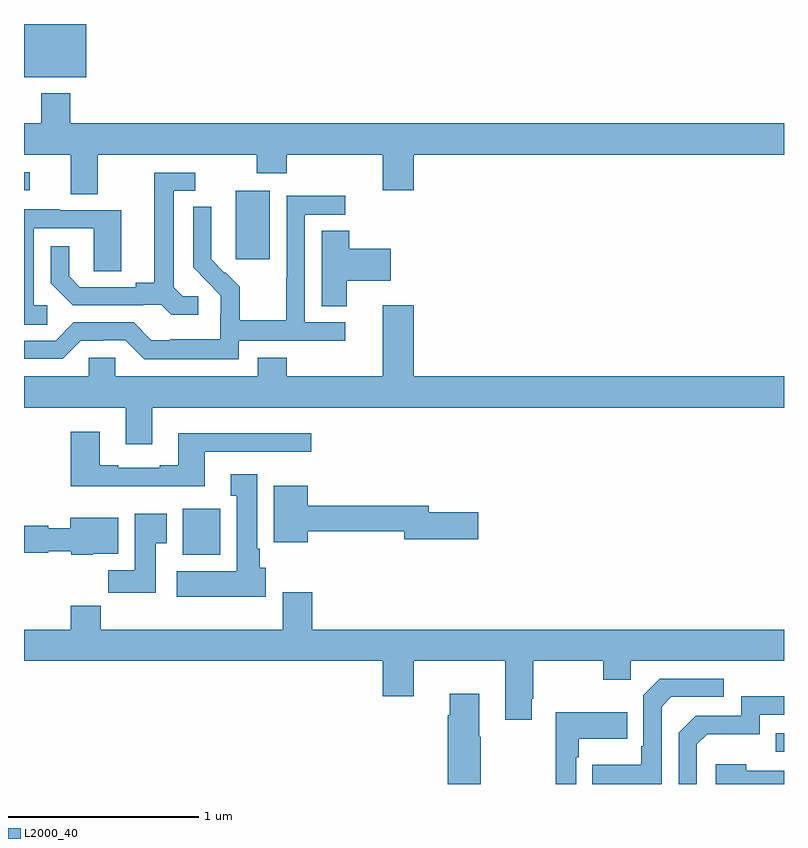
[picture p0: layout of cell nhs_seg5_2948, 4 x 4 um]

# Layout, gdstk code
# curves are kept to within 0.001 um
import gdstk
lib = gdstk.Library(unit=1e-6, precision=1e-09)
def R(c, l, rs):  # rectangles x0, y0, x1, y1
    for r in rs: c.add(gdstk.rectangle(r[:2], r[2:], *l))
def P(c, l, *ps):  # polygons
    for p in ps: c.add(gdstk.Polygon(p, *l))
L2000_40 = (2000, 40)

nhs_seg5_2948 = lib.new_cell('nhs_seg5_2948')
R(nhs_seg5_2948, L2000_40, [(286.957,834.969,287,835.065), (283.835,836.006,284.032,836.248), (284.114,837.561,284.293,837.922), (283,837.924,283.03,838.02), (283,838.52,283.327,838.799)])
P(nhs_seg5_2948, L2000_40, [(283.387,838.112),(284.224,838.112),(284.224,838.013),(284.384,838.013),(284.384,838.112),(284.888,838.112),(284.888,837.924),(285.052,837.924),(285.052,838.112),(287,838.112),(287,838.276),(283.244,838.276),(283.244,838.435),(283.091,838.435),(283.091,838.276),(283,838.276),(283,838.112),(283.247,838.112),(283.247,837.904),(283.387,837.904)],
  [(283.918,837.366),(283.836,837.366),(283.789,837.413),(283.789,837.921),(283.9,837.921),(283.9,838.017),(283.685,838.017),(283.685,837.437),(283.589,837.437),(283.589,837.414),(283.294,837.414),(283.237,837.471),(283.237,837.628),(283.14,837.628),(283.14,837.434),(283.256,837.318),(283.628,837.318),(283.628,837.321),(283.722,837.321),(283.774,837.269),(283.918,837.269)],
  [(284.13,837.132),(284.692,837.132),(284.692,837.228),(284.478,837.228),(284.478,837.795),(284.692,837.795),(284.692,837.894),(284.382,837.894),(284.382,837.464),(284.38,837.464),(284.38,837.241),(284.135,837.241),(284.135,837.415),(284.058,837.492),(284.055,837.489),(283.985,837.56),(283.986,837.836),(283.89,837.836),(283.89,837.518),(284.036,837.37),(284.036,837.273),(284.034,837.273),(284.034,837.139),(283.771,837.139),(283.771,837.135),(283.671,837.135),(283.578,837.228),(283.263,837.228),(283.167,837.132),(283,837.132),(283,837.036),(283.203,837.036),(283.299,837.132),(283.418,837.132),(283.418,837.135),(283.533,837.135),(283.633,837.035),(284.13,837.035)],
  [(283.123,837.318),(283.05,837.318),(283.05,837.723),(283.368,837.723),(283.368,837.499),(283.513,837.499),(283.513,837.819),(283.189,837.819),(283.189,837.823),(283,837.823),(283,837.217),(283.123,837.217)],
  [(284.698,837.449),(284.929,837.449),(284.929,837.615),(284.711,837.615),(284.711,837.71),(284.567,837.71),(284.567,837.313),(284.698,837.313)],
  [(283.675,836.78),(287,836.78),(287,836.944),(285.052,836.944),(285.052,837.319),(284.888,837.319),(284.888,836.944),(284.384,836.944),(284.384,837.043),(284.231,837.043),(284.231,836.944),(283.479,836.944),(283.479,837.042),(283.341,837.042),(283.341,836.944),(283,836.944),(283,836.78),(283.535,836.78),(283.535,836.586),(283.675,836.586)],
  [(283.951,836.547),(284.512,836.547),(284.512,836.644),(283.811,836.644),(283.811,836.476),(283.715,836.476),(283.715,836.463),(283.495,836.463),(283.495,836.476),(283.399,836.476),(283.399,836.653),(283.247,836.653),(283.247,836.366),(283.951,836.366)],
  [(284.272,835.938),(284.242,835.938),(284.242,836.038),(284.227,836.038),(284.227,836.428),(284.087,836.428),(284.087,836.315),(284.12,836.315),(284.12,835.918),(283.803,835.918),(283.803,835.784),(284.272,835.784)],
  [(284.494,836.128),(285.002,836.128),(285.002,836.086),(285.391,836.086),(285.391,836.228),(285.13,836.228),(285.13,836.264),(284.494,836.264),(284.494,836.368),(284.315,836.368),(284.315,836.072),(284.494,836.072)],
  [(283.693,836.065),(283.75,836.065),(283.75,836.221),(283.583,836.221),(283.583,835.924),(283.444,835.924),(283.444,835.806),(283.693,835.806)],
  [(283.362,836.012),(283.495,836.012),(283.495,836.2),(283.244,836.2),(283.244,836.146),(283.128,836.146),(283.128,836.159),(283,836.159),(283,836.017),(283.128,836.017),(283.128,836.024),(283.248,836.024),(283.248,836.006),(283.362,836.006)],
  [(285.673,835.249),(285.681,835.249),(285.681,835.448),(286.048,835.448),(286.048,835.349),(286.194,835.349),(286.194,835.448),(287,835.448),(287,835.612),(284.516,835.612),(284.516,835.807),(284.363,835.807),(284.363,835.612),(283.403,835.612),(283.403,835.736),(283.247,835.736),(283.247,835.612),(283,835.612),(283,835.448),(284.888,835.448),(284.888,835.26),(285.052,835.26),(285.052,835.448),(285.533,835.448),(285.533,835.137),(285.673,835.137)],
  [(286.356,835.206),(286.407,835.257),(286.684,835.257),(286.684,835.353),(286.347,835.353),(286.26,835.266),(286.26,834.997),(286.248,834.997),(286.248,834.901),(285.991,834.901),(285.991,834.799),(286.356,834.799)],
  [(285.405,835.049),(285.397,835.049),(285.397,835.273),(285.242,835.273),(285.242,835.16),(285.23,835.16),(285.23,834.799),(285.405,834.799)],
  [(286.542,835.008),(286.595,835.061),(286.872,835.061),(286.872,835.164),(287,835.164),(287,835.26),(286.776,835.26),(286.776,835.158),(286.536,835.158),(286.446,835.068),(286.446,834.799),(286.542,834.799)],
  [(285.906,834.941),(285.919,834.941),(285.919,835.037),(286.175,835.037),(286.175,835.177),(285.798,835.177),(285.798,834.799),(285.906,834.799)],
  [(287,834.87),(286.802,834.87),(286.802,834.904),(286.641,834.904),(286.641,834.799),(287,834.799)])

lib.write_gds('nhs_seg5_2948.gds')
